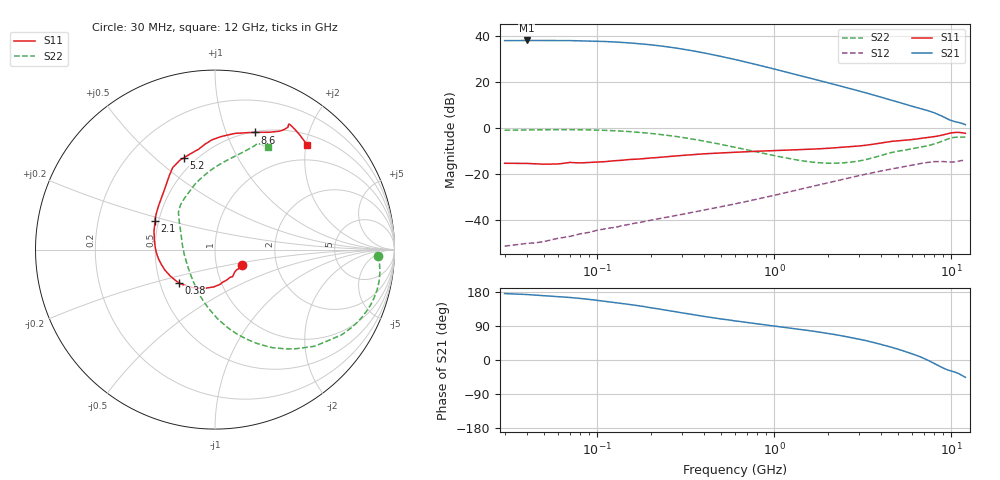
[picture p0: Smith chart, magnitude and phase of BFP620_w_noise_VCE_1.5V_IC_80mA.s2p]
! Infineon Technologies  Discrete & RF Semiconductors
! BFP620
! VCE =  1.5 V,  IC =  80 mA
! Common Emitter S-Parameters:  Nov 2015
# GHz  S  MA  R  50
!  f  S11  S21  S12  S22
! GHz  MAG  ANG  MAG  ANG  MAG  ANG  MAG  ANG
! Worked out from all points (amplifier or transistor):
!   239 points, 30 MHz to 12 GHz, reference 50 ohm
!   highest |S21| = 38.2 dB at 40 MHz (marker M1)
!   |S21| within 3 dB of that: start of sweep to 261.6 MHz
!   unconditionally stable (mu >= 1): 1.507 GHz to end of sweep
!   at 300 MHz: K = 0.60, MSG = 36.0 dB, |S12| = -37.5 dB
!   at 1.88 GHz: K = 1.02, MAG = 21.5 dB, |S12| = -24.3 dB
!   at 12 GHz: K = 1.09, MAG = 6.0 dB, |S12| = -14.1 dB
!   lowest NFmin = 2.02 dB at 450 MHz
!   S11 on the Smith chart (normalised r, x): 30 MHz: 1.33, -0.24; 380 MHz: 0.63, -0.25; 2.1 GHz: 0.48, +0.18; 5.2 GHz: 0.43, +0.62; 8.6 GHz: 0.51, +1.27; 12 GHz: 0.69, +2.03
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0.03  0.1723 -30.3  80.96 175.3  0.0027 108.0  0.9063 -2.1
0.04  0.1713 -37.7  81.63 172.8  0.0031 99.7  0.9206 -5.1
0.07  0.1799 -57.0  81.08 165.0  0.0044 88.8  0.9307 -13.9
0.085  0.1776 -64.1  79.75 161.2  0.0052 84.2  0.9231 -18.1
0.115  0.1902 -78.8  76.91 154.1  0.0066 80.6  0.8951 -26.0
0.14  0.2012 -87.5  73.8 148.8  0.0077 77.9  0.863 -31.9
0.175  0.2147 -98.9  68.94 142.6  0.0089 75.3  0.8084 -38.9
0.2  0.225 -105.8  65.79 137.9  0.0099 73.8  0.7738 -44.1
0.24  0.2376 -115.5  60.44 132.1  0.0113 72.7  0.7137 -50.7
0.3  0.2549 -127.0  53.33 124.5  0.0133 71.4  0.6339 -59.6
0.38  0.2731 -137.7  45.49 116.9  0.0159 70.6  0.5448 -68.8
0.5  0.29 -150.0  36.6 108.3  0.0195 69.9  0.4451 -80.2
0.6  0.3012 -157.5  31.33 103.1  0.0225 69.5  0.3856 -87.9
0.7  0.3089 -163.4  27.23 98.9  0.0255 69.2  0.339 -94.7
0.9  0.3218 -172.8  21.5 92.4  0.0316 68.4  0.2752 -106.7
1.2  0.3344 176.6  16.3 84.9  0.0408 66.3  0.2192 -122.5
1.64  0.3514 165.2  11.99 76.3  0.0541 62.4  0.1824 -143.7
2.1  0.3702 154.6  9.371 68.7  0.0677 57.6  0.1724 -165.0
4.5  0.514 117.3  4.165 34.6  0.128 31.1  0.2909 134.5
5.2  0.5404 108.7  3.549 26.0  0.142 23.7  0.3233 124.1
8.6  0.6898 71.2  1.928 -16.7  0.1886 -14.1  0.4993 82.8
12  0.7769 48.5  1.194 -45.8  0.1976 -39.9  0.6451 62.6
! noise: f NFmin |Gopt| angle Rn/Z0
0.45  2.02  0.42  -168  0.1
0.9  2.03  0.45  -156  0.12
1.9  2.04  0.48  -140  0.16
2.4  2.08  0.48  -137  0.18
3.5  2.15  0.51  -108  0.34
5.5  2.46  0.5  -85  0.56
10  2.73  0.7  -41  1.89
